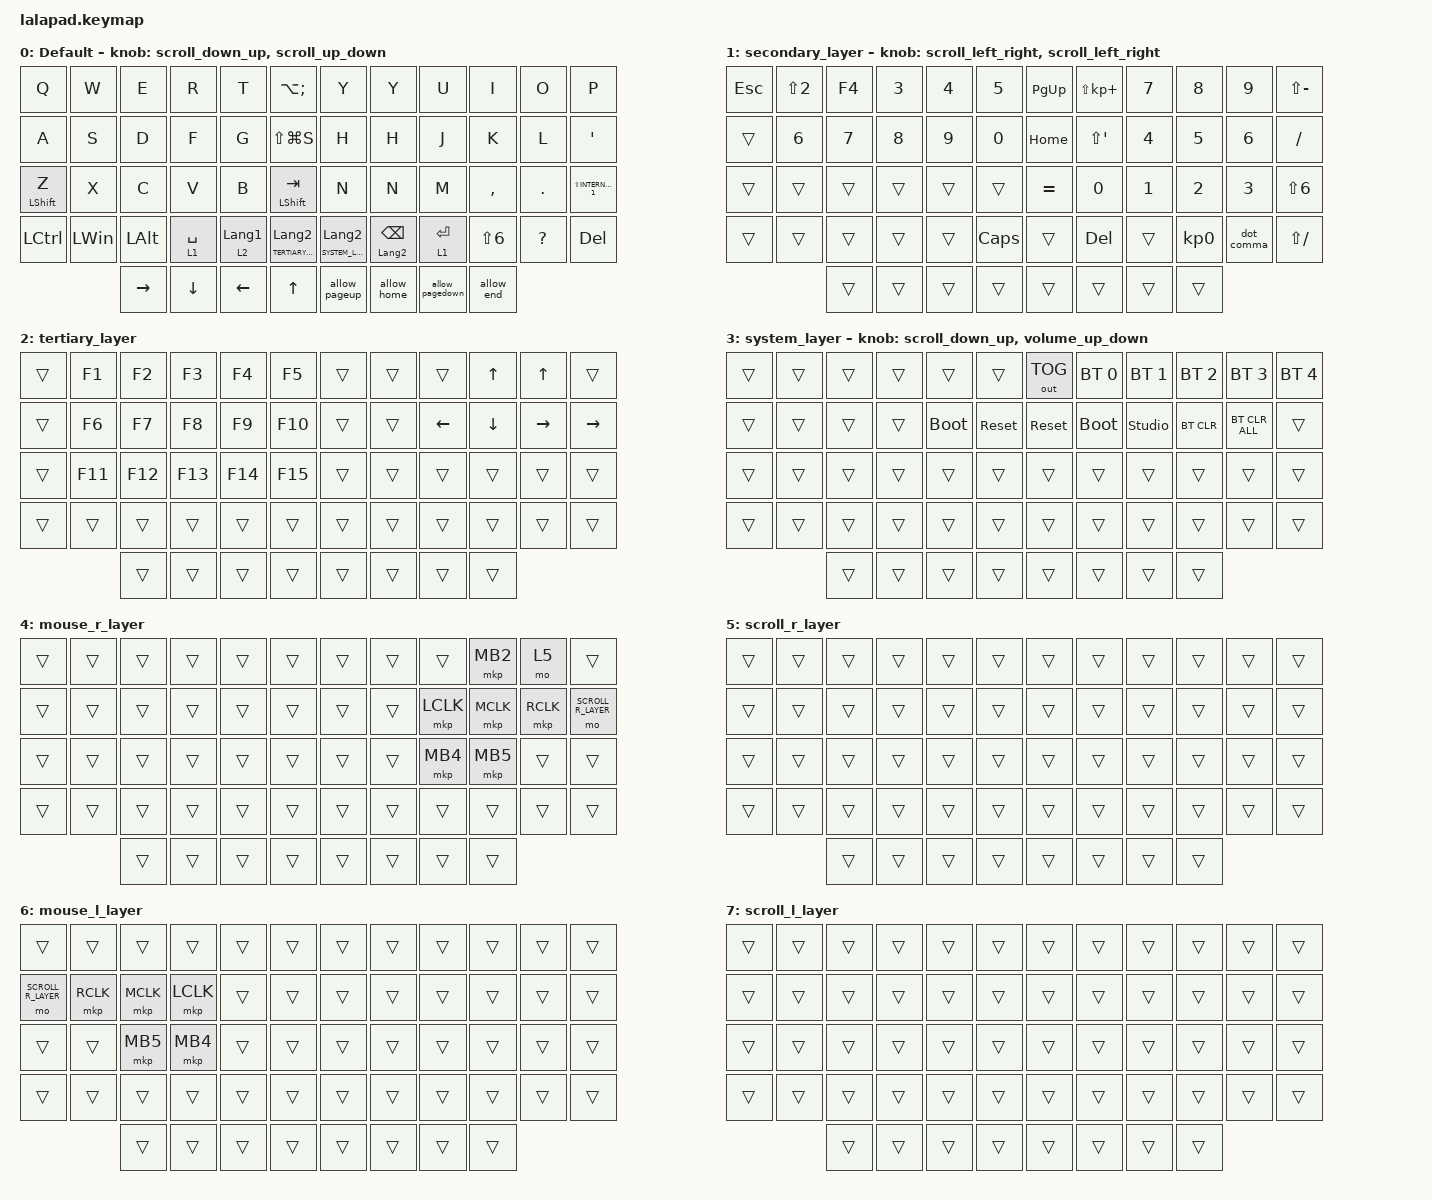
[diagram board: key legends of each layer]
#include <input/processors.dtsi>
#include <behaviors.dtsi>
#include <dt-bindings/zmk/bt.h>
#include <dt-bindings/zmk/keys.h>
#include <dt-bindings/zmk/outputs.h>
#include <dt-bindings/zmk/pointing.h>

#define DEFAULT_LAYER   0
#define SECONDARY_LAYER 1
#define TERTIARY_LAYER  2
#define SYSTEM_LAYER    3
#define MOUSE_R_LAYER   4
#define SCROLL_R_LAYER  5
#define MOUSE_L_LAYER   6
#define SCROLL_L_LAYER  7

// Mouse Scroll Value

#undef ZMK_POINTING_DEFAULT_SCRL_VAL

#define ZMK_POINTING_DEFAULT_SCRL_VAL 100

// cirque trackpad input&layer control

&glidepoint_listener_R {
    input-processors =
        <&zip_xy_transform (INPUT_TRANSFORM_XY_SWAP | INPUT_TRANSFORM_X_INVERT | INPUT_TRANSFORM_Y_INVERT)>,
        <&zip_xy_scaler 3 2>,
        <&zip_temp_layer MOUSE_R_LAYER 500>;

    lowspeedmode {
        layers = <SECONDARY_LAYER>;
        input-processors =
            <&zip_xy_transform (INPUT_TRANSFORM_XY_SWAP | INPUT_TRANSFORM_X_INVERT | INPUT_TRANSFORM_Y_INVERT)>,
            <&zip_xy_scaler 3 5>,
            <&zip_temp_layer MOUSE_R_LAYER 500>;
    };

    scroller {
        layers = <SCROLL_R_LAYER>;
        input-processors =
            <&zip_xy_to_scroll_mapper>,
            <&zip_scroll_transform (INPUT_TRANSFORM_XY_SWAP | INPUT_TRANSFORM_Y_INVERT)>,
            <&zip_scroll_scaler 1 8>;
    };
};

&glidepoint_listener_L {
    input-processors =
        <&zip_xy_transform (INPUT_TRANSFORM_XY_SWAP | INPUT_TRANSFORM_X_INVERT | INPUT_TRANSFORM_Y_INVERT)>,
        <&zip_xy_scaler 3 2>,
        <&zip_temp_layer MOUSE_L_LAYER 500>;

    lowspeedmode {
        layers = <SECONDARY_LAYER>;
        input-processors =
            <&zip_xy_transform (INPUT_TRANSFORM_XY_SWAP | INPUT_TRANSFORM_X_INVERT | INPUT_TRANSFORM_Y_INVERT)>,
            <&zip_xy_scaler 3 4>,
            <&zip_temp_layer MOUSE_L_LAYER 500>;
    };

    scroller {
        layers = <SCROLL_L_LAYER>;
        input-processors =
            <&zip_xy_to_scroll_mapper>,
            <&zip_scroll_transform (INPUT_TRANSFORM_XY_SWAP | INPUT_TRANSFORM_Y_INVERT)>,
            <&zip_scroll_scaler 1 6>;
    };
};

/ {
    behaviors {
        // Encoder to Mouse Scroll

        scroll_up_down: sensor_scroll_up_down {
            compatible = "zmk,behavior-sensor-rotate";
            #sensor-binding-cells = <0>;
            bindings = <&msc SCRL_UP>, <&msc SCRL_DOWN>;

            tap-ms = <20>;
            label = "SCROLL_UP_DOWN";
        };

        scroll_down_up: sensor_scroll_down_up {
            compatible = "zmk,behavior-sensor-rotate";
            #sensor-binding-cells = <0>;
            bindings = <&msc SCRL_DOWN>, <&msc SCRL_UP>;

            tap-ms = <20>;
            label = "SCROLL_DOWN_UP";
        };

        scroll_left_right: sensor_scroll_left_right {
            compatible = "zmk,behavior-sensor-rotate";
            #sensor-binding-cells = <0>;
            bindings = <&msc SCRL_LEFT>, <&msc SCRL_RIGHT>;

            tap-ms = <20>;
            label = "SCROLL_LEFT_RIGHT";
        };

        scroll_right_left: sensor_scroll_right_left {
            compatible = "zmk,behavior-sensor-rotate";
            #sensor-binding-cells = <0>;
            bindings = <&msc SCRL_RIGHT>, <&msc SCRL_LEFT>;

            tap-ms = <20>;
            label = "SCROLL_RIGHT_LEFT";
        };

        volume_up_down: sensor_volume_up_down {
            compatible = "zmk,behavior-sensor-rotate";
            #sensor-binding-cells = <0>;
            bindings = <&kp C_VOLUME_UP>, <&kp C_VOLUME_DOWN>;

            tap-ms = <20>;
            label = "VOLUME_UP_DOWN";
        };

        dot_comma: dot_comma {
            compatible = "zmk,behavior-mod-morph";
            #binding-cells = <0>;
            bindings = <&kp KP_DOT>, <&kp COMMA>;

            mods = <(MOD_LSFT|MOD_RSFT)>;
            label = "DOT_COMMA";
        };

        pls_minus: pls_minus {
            compatible = "zmk,behavior-mod-morph";
            #binding-cells = <0>;
            bindings = <&kp PLUS>, <&kp MINUS>;

            mods = <(MOD_LSFT|MOD_RSFT)>;
            label = "PLS_MINUS";
        };

        allow_pageup: allow_pageup {
            compatible = "zmk,behavior-mod-morph";
            #binding-cells = <0>;
            bindings = <&kp UP>, <&kp PAGE_UP>;

            mods = <(MOD_LCTL|MOD_RCTL)>;
            label = "ALLOW_PAGEUP";
        };

        allow_pagedown: allow_pagedown {
            compatible = "zmk,behavior-mod-morph";
            #binding-cells = <0>;
            bindings = <&kp DOWN>, <&kp PAGE_DOWN>;

            mods = <(MOD_LCTL|MOD_RCTL)>;
            label = "ALLOW_PAGEDOWN";
        };

        allow_home: allow_home {
            compatible = "zmk,behavior-mod-morph";
            #binding-cells = <0>;
            bindings = <&kp LEFT>, <&kp HOME>;

            mods = <(MOD_LCTL|MOD_RCTL)>;
            label = "ALLOW_HOME";
        };

        allow_end: allow_end {
            compatible = "zmk,behavior-mod-morph";
            #binding-cells = <0>;
            bindings = <&kp RIGHT>, <&kp END>;

            mods = <(MOD_LCTL|MOD_RCTL)>;
            label = "ALLOW_END";
        };

        mt2: mod_tap2 {
            compatible = "zmk,behavior-hold-tap";
            #binding-cells = <2>;
            flavor = "tap-preferred";
            tapping-term-ms = <100>;
            quick-tap-ms = <100>;
            require-prior-idle-ms = <125>;
            bindings = <&kp>, <&kp>;
        };
    };

    combos {
        compatible = "zmk,combos";

        TABkey {
            bindings = <&kp TAB>;
            key-positions = <13 14>;
        };

        tab2 {
            bindings = <&kp LS(TAB)>;
            key-positions = <15 16>;
        };
    };

    macros {
        Visiblcell: Visiblcell {
            compatible = "zmk,behavior-macro";
            #binding-cells = <0>;
            bindings = <&kp LA(SEMI)>;
            label = "VISIBLCELL";
        };
    };

    keymap {
        compatible = "zmk,keymap";

        DEFAULT_LAYER {
            display-name = "Default";
            sensor-bindings = <&scroll_down_up>, <&scroll_up_down>;

            bindings = <
&kp Q             &kp W         &kp E         &kp R        &kp T             &kp LA(SEMI)                   &kp Y                        &kp Y                      &kp U            &kp I             &kp O         &kp P
&kp A             &kp S         &kp D         &kp F        &kp G             &kp LS(LG(S))                  &kp H                        &kp H                      &kp J            &kp K             &kp L         &kp APOS
&mt LEFT_SHIFT Z  &kp X         &kp C         &kp V        &kp B             &mt LEFT_SHIFT TAB             &kp N                        &kp N                      &kp M            &kp COMMA         &kp DOT       &kp LS(INTERNATIONAL_1)
&kp LCTRL         &kp LEFT_WIN  &kp LEFT_ALT  &lt 1 SPACE  &lt 2 LANGUAGE_1  &lt TERTIARY_LAYER LANGUAGE_2  &lt SYSTEM_LAYER LANGUAGE_2  &mt2 LANGUAGE_2 BACKSPACE  &lt 1 RET        &kp LS(NUMBER_6)  &kp QUESTION  &kp DELETE
                                &kp RIGHT     &kp DOWN     &kp LEFT_ARROW    &kp UP_ARROW                   &allow_pageup                &allow_home                &allow_pagedown  &allow_end
            >;
        };

        SECONDARY_LAYER {
            display-name = "secondary_layer";
            sensor-bindings = <&scroll_left_right>, <&scroll_left_right>;

            bindings = <
&kp ESC  &kp LS(NUMBER_2)  &kp F4        &kp NUMBER_3  &kp NUMBER_4  &kp NUMBER_5  &kp PAGE_UP  &kp LS(KP_PLUS)  &kp N7  &kp N8           &kp N9      &kp LS(MINUS)
&trans   &kp NUMBER_6      &kp NUMBER_7  &kp NUMBER_8  &kp NUMBER_9  &kp NUMBER_0  &kp HOME     &kp LS(APOS)     &kp N4  &kp N5           &kp N6      &kp SLASH
&trans   &trans            &trans        &trans        &trans        &trans        &kp EQUAL    &kp N0           &kp N1  &kp N2           &kp N3      &kp LS(NUMBER_6)
&trans   &trans            &trans        &trans        &trans        &kp CAPS      &trans       &kp DELETE       &trans  &kp KP_NUMBER_0  &dot_comma  &kp LS(SLASH)
                           &trans        &trans        &trans        &trans        &trans       &trans           &trans  &trans
            >;
        };

        TERTIARY_LAYER {
            display-name = "tertiary_layer";
            bindings = <
&trans  &kp F1   &kp F2   &kp F3   &kp F4   &kp F5   &trans  &trans  &trans          &kp UP_ARROW    &kp UP_ARROW     &trans
&trans  &kp F6   &kp F7   &kp F8   &kp F9   &kp F10  &trans  &trans  &kp LEFT_ARROW  &kp DOWN_ARROW  &kp RIGHT_ARROW  &kp RIGHT_ARROW
&trans  &kp F11  &kp F12  &kp F13  &kp F14  &kp F15  &trans  &trans  &trans          &trans          &trans           &trans
&trans  &trans   &trans   &trans   &trans   &trans   &trans  &trans  &trans          &trans          &trans           &trans
                 &trans   &trans   &trans   &trans   &trans  &trans  &trans          &trans
            >;
        };

        SYSTEM_LAYER {
            display-name = "system_layer";
            sensor-bindings = <&scroll_down_up>, <&volume_up_down>;

            bindings = <
&trans  &trans  &trans  &trans  &trans       &trans      &out OUT_TOG  &bt BT_SEL 0  &bt BT_SEL 1    &bt BT_SEL 2  &bt BT_SEL 3    &bt BT_SEL 4
&trans  &trans  &trans  &trans  &bootloader  &sys_reset  &sys_reset    &bootloader   &studio_unlock  &bt BT_CLR    &bt BT_CLR_ALL  &trans
&trans  &trans  &trans  &trans  &trans       &trans      &trans        &trans        &trans          &trans        &trans          &trans
&trans  &trans  &trans  &trans  &trans       &trans      &trans        &trans        &trans          &trans        &trans          &trans
                &trans  &trans  &trans       &trans      &trans        &trans        &trans          &trans
            >;
        };

        MOUSE_R_LAYER {
            display-name = "mouse_r_layer";
            bindings = <
&trans  &trans  &trans  &trans  &trans  &trans  &trans  &trans  &trans     &mkp MB2   &mo 5      &trans
&trans  &trans  &trans  &trans  &trans  &trans  &trans  &trans  &mkp LCLK  &mkp MCLK  &mkp RCLK  &mo SCROLL_R_LAYER
&trans  &trans  &trans  &trans  &trans  &trans  &trans  &trans  &mkp MB4   &mkp MB5   &trans     &trans
&trans  &trans  &trans  &trans  &trans  &trans  &trans  &trans  &trans     &trans     &trans     &trans
                &trans  &trans  &trans  &trans  &trans  &trans  &trans     &trans
            >;
        };

        SCROLL_R_LAYER {
            display-name = "scroll_r_layer";
            bindings = <
&trans  &trans  &trans  &trans  &trans  &trans  &trans  &trans  &trans  &trans  &trans  &trans
&trans  &trans  &trans  &trans  &trans  &trans  &trans  &trans  &trans  &trans  &trans  &trans
&trans  &trans  &trans  &trans  &trans  &trans  &trans  &trans  &trans  &trans  &trans  &trans
&trans  &trans  &trans  &trans  &trans  &trans  &trans  &trans  &trans  &trans  &trans  &trans
                &trans  &trans  &trans  &trans  &trans  &trans  &trans  &trans
            >;
        };

        MOUSE_L_LAYER {
            display-name = "mouse_l_layer";
            bindings = <
&trans              &trans     &trans     &trans     &trans  &trans  &trans  &trans  &trans  &trans  &trans  &trans
&mo SCROLL_R_LAYER  &mkp RCLK  &mkp MCLK  &mkp LCLK  &trans  &trans  &trans  &trans  &trans  &trans  &trans  &trans
&trans              &trans     &mkp MB5   &mkp MB4   &trans  &trans  &trans  &trans  &trans  &trans  &trans  &trans
&trans              &trans     &trans     &trans     &trans  &trans  &trans  &trans  &trans  &trans  &trans  &trans
                               &trans     &trans     &trans  &trans  &trans  &trans  &trans  &trans
            >;
        };

        SCROLL_L_LAYER {
            display-name = "scroll_l_layer";
            bindings = <
&trans  &trans  &trans  &trans  &trans  &trans  &trans  &trans  &trans  &trans  &trans  &trans
&trans  &trans  &trans  &trans  &trans  &trans  &trans  &trans  &trans  &trans  &trans  &trans
&trans  &trans  &trans  &trans  &trans  &trans  &trans  &trans  &trans  &trans  &trans  &trans
&trans  &trans  &trans  &trans  &trans  &trans  &trans  &trans  &trans  &trans  &trans  &trans
                &trans  &trans  &trans  &trans  &trans  &trans  &trans  &trans
            >;
        };
    };
};
